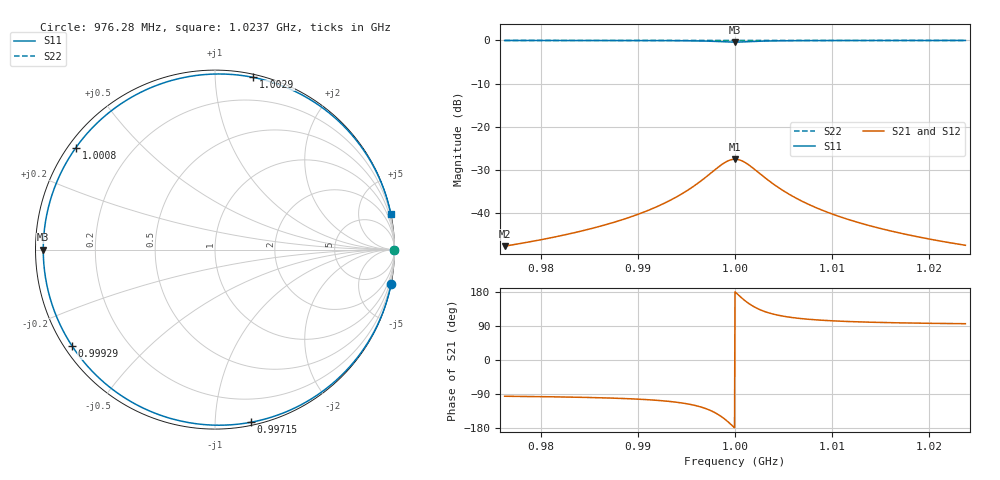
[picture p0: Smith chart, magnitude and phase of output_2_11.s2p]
! File generated for n1 = 2, n2 = 11
! b1 = 46.415888
! b2 = 0.021544
! Q0 = 10000.000000
! f0 = 1000000000.000000
! n = 1001
! rel_span = 10.000000
# Hz S RI R 50
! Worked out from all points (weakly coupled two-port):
!   1001 points, 976.28 MHz to 1.0237 GHz, reference 50 ohm
!   highest |S21| = -27.50 dB at 1 GHz (marker M1); lowest = -47.6 dB at 976.28 MHz (marker M2)
!   lowest |S11| = -0.4 dB at 1 GHz (marker M3), VSWR 45.44, Z = 1.1 + j0 ohm
!   |S11| at or under -10 dB: nowhere
!   |S22| runs from 0.0 to 0.0 dB; largest |S21 - S12| = 0
!   S11 on the Smith chart (normalised r, x): 976.28 MHz: 0, -10; 997.15 MHz: 0.02, -1.23; 999.29 MHz: 0.02, -0.31; 1.0008 GHz: 0.02, +0.33; 1.0029 GHz: 0.02, +1.25; 1.0237 GHz: 0, +10
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9.762813e8  0.9811 -0.1915  -0.000408 -0.00413  -0.000408 -0.00413  1 -8.89e-05
9.842033e8  0.9575 -0.2852  -0.000915 -0.00614  -0.000915 -0.00614  1 -0.000132
9.887099e8  0.9182 -0.3917  -0.00176 -0.00844  -0.00176 -0.00844  1 -0.000182
9.921254e8  0.8384 -0.5386  -0.00348 -0.0116  -0.00348 -0.0116  0.9999 -0.00025
9.951614e8  0.6223 -0.7723  -0.00814 -0.0166  -0.00814 -0.0166  0.9998 -0.000358
9.962524e8  0.4418 -0.8836  -0.012 -0.019  -0.012 -0.019  0.9997 -0.00041
9.971538e8  0.1993 -0.9622  -0.0172 -0.0207  -0.0172 -0.0207  0.9996 -0.000447
9.983397e8  -0.3127 -0.9196  -0.0283 -0.0198  -0.0283 -0.0198  0.9994 -0.000427
9.988141e8  -0.5652 -0.7831  -0.0337 -0.0169  -0.0337 -0.0169  0.9993 -0.000363
9.992884e8  -0.7952 -0.5388  -0.0387 -0.0116  -0.0387 -0.0116  0.9992 -0.00025
1e9  -0.9569 0  -0.0422 0  -0.0422 0  0.9991 0
1.000379e9  -0.9081 0.3052  -0.0411 0.00658  -0.0411 0.00658  0.9991 0.000142
1.000759e9  -0.7753 0.5679  -0.0382 0.0122  -0.0382 0.0122  0.9992 0.000264
1.001186e9  -0.5659 0.7825  -0.0337 0.0169  -0.0337 0.0169  0.9993 0.000363
1.00166e9  -0.3141 0.9191  -0.0283 0.0198  -0.0283 0.0198  0.9994 0.000427
1.002182e9  -0.0609 0.975  -0.0229 0.021  -0.0229 0.021  0.9995 0.000453
1.002894e9  0.2122 0.9597  -0.017 0.0207  -0.017 0.0207  0.9996 0.000445
1.003795e9  0.4488 0.8802  -0.0119 0.019  -0.0119 0.019  0.9997 0.000409
1.004886e9  0.6253 0.77  -0.00807 0.0166  -0.00807 0.0166  0.9998 0.000357
1.007922e9  0.8378 0.5395  -0.00349 0.0116  -0.00349 0.0116  0.9999 0.00025
1.015844e9  0.9564 0.2887  -0.000938 0.00622  -0.000938 0.00622  1 0.000134
1.023719e9  0.9802 0.196  -0.000427 0.00422  -0.000427 0.00422  1 9.1e-05
